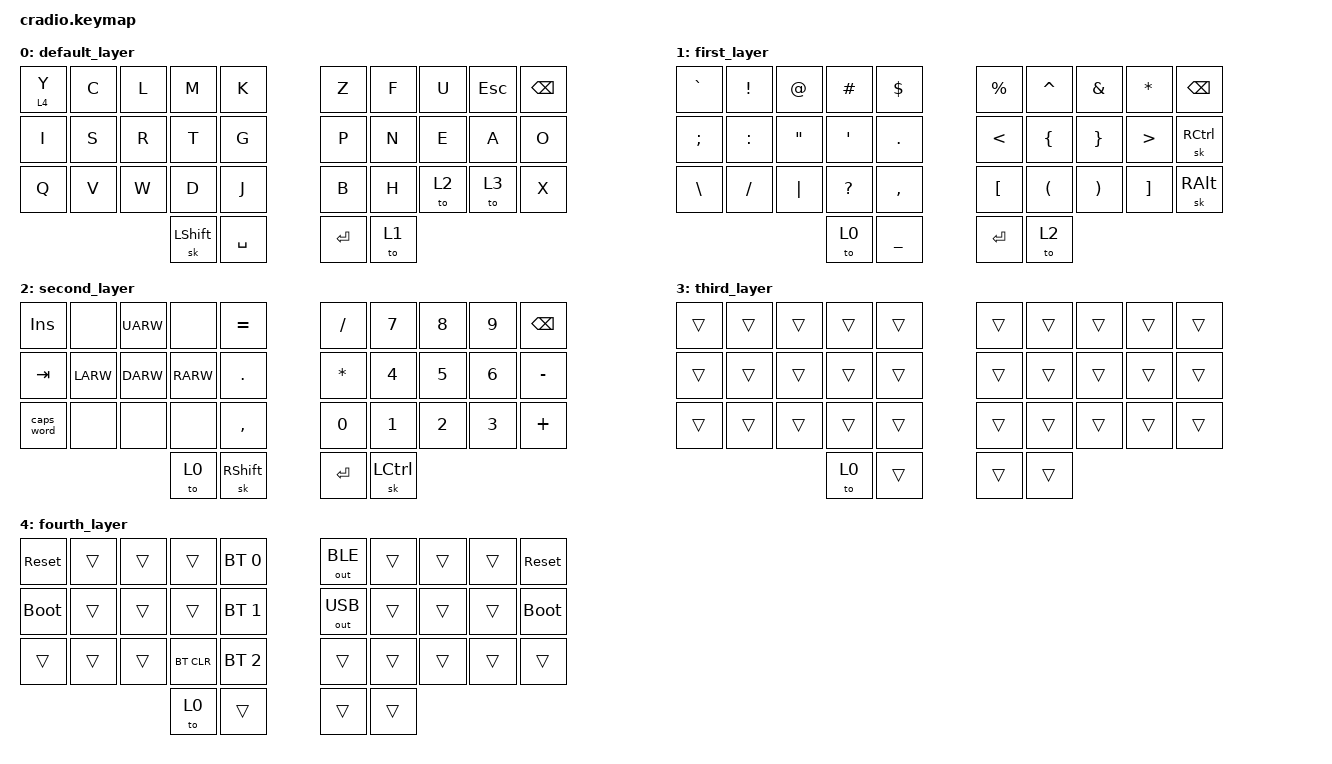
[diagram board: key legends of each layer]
// Copyright (c) 2022 The ZMK Contributors
// SPDX-License-Identifier: MIT

#include <behaviors.dtsi>
#include <dt-bindings/zmk/keys.h>
#include <dt-bindings/zmk/bt.h>
#include <dt-bindings/zmk/outputs.h>

&lt {
    tapping-term-ms = <2000>;
};

/ {
    behaviors {
        ht: hold_tap {
            compatible = "zmk,behavior-hold-tap";
            #binding-cells = <2>;
            flavor = "tap-preferred";
            tapping-term-ms = <220>;
            quick-tap-ms = <150>;
            require-prior-idle-ms = <100>;
            bindings = <&kp>, <&kp>;
        };
    };

    keymap {
        compatible = "zmk,keymap";
        default_layer {
            bindings = <
        //╭──────────┬──────────┬──────────┬──────────┬──────────╮   ╭──────────┬──────────┬──────────┬──────────┬──────────╮
        //│  Y       │  C       │  L       │  M       │  K       │   │  Z       │  F       │  U       │ ESCAPE   │ BKSP     │
            &lt 4 Y      &kp C      &kp L      &kp M      &kp K          &kp Z     &kp F      &kp U     &kp ESC    &kp BKSP 
        //├──────────┼──────────┼──────────┼──────────┼──────────┤   ├──────────┼──────────┼──────────┼──────────┼──────────┤
        //│  I       │  S       │  R       │  T       │  G       │   │  P       │  N       │  E       │  A       │  O       │
            &kp I      &kp S      &kp R      &kp T      &kp G          &kp P      &kp N      &kp E      &kp A       &kp O 
        //├──────────┼──────────┼──────────┼──────────┼──────────┤   ├──────────┼──────────┼──────────┼──────────┼──────────┤
        //│  Q       │  V       │  W       │  D       │  J       │   │  B       │  H       │ layer 2  │ layer 3  │  X       │
            &kp Q      &kp V      &kp W      &kp D      &kp J          &kp B      &kp H      &to 2      &to 3       &kp X
        //╰──────────┴──────────┴──────────┼──────────┼──────────┤   ├──────────┼──────────┼──────────┴──────────┴──────────╯
        //                                 │ LSHIFT   │ SPACEBAR │   │ ENTER    │ layer 1  │ 
                                            &sk LSHIFT  &kp SPC        &kp ENTER  &to 1
        //                                 ╰──────────┴──────────╯   ╰──────────┴──────────╯
            >;
        };

        first_layer {
            bindings = <
        //╭──────────┬──────────┬──────────┬──────────┬──────────╮   ╭──────────┬──────────┬──────────┬──────────┬──────────╮
        //│ `        │  !       │  @       │  #       │  $       │   │ %        │ ^        │ &        │ *        │  BKSP    │
            &kp GRAVE  &kp EXCL   &kp AT    &kp HASH    &kp DLLR       &kp PRCNT  &kp CARET  &kp AMPS   &kp ASTRK  &kp BKSP
        //├──────────┼──────────┼──────────┼──────────┼──────────┤   ├──────────┼──────────┼──────────┼──────────┼──────────┤
        //│ ;        │  :       │  "       │  '       │  .       │   │ <        │ {        │ }        │ >        │ RCTRL    │
            &kp SEMI   &kp COLON  &kp DQT    &kp SQT    &kp DOT        &kp LT     &kp LBRC   &kp RBRC   &kp GT     &sk RCTRL
        //├──────────┼──────────┼──────────┼──────────┼──────────┤   ├──────────┼──────────┼──────────┼──────────┼──────────┤
        //│ \        │  /       │  |       │  ?       │  ,       │   │  [       │  (       │  )       │  ]       │ RALT     │
            &kp BSLH   &kp FSLH   &kp PIPE   &kp QMARK  &kp COMMA       &kp LBKT   &kp LPAR   &kp RPAR   &kp RBKT  &sk RALT
        //╰──────────┴──────────┴──────────┼──────────┼──────────┤   ├──────────┼──────────┼──────────┴──────────┴──────────╯
        //                                 │ layer 0  │ _        │   │  ENTER   │ layer 2  │ 
                                             &to 0      &kp UNDER     &kp ENTER    &to 2
        //                                 ╰──────────┴──────────╯   ╰──────────┴──────────╯
            >;
        };

        second_layer {
            bindings = <
        //╭──────────┬──────────┬──────────┬──────────┬──────────╮      ╭──────────┬──────────┬──────────┬──────────┬──────────╮
        //│ INSERT   │          │  UP      │          │ =        │      │ /        │ 7        │ 8        │ 9        │  BKSP    │
            &kp INS    &none     &kp UARW    &none      &kp EQUAL        &kp FSLH    &kp N7     &kp N8     &kp N9     &kp BKSP
        //├──────────┼──────────┼──────────┼──────────┼──────────┤      ├──────────┼──────────┼──────────┼──────────┼──────────┤
        //│ TAB      │  LEFT    │  DOWN    │   RIGHT  │ .        │      │ *        │ 4        │ 5        │ 6        │ -        │
            &kp TAB    &kp LARW   &kp DARW   &kp RARW   &kp DOT           &kp ASTRK  &kp N4     &kp N5     &kp N6     &kp MINUS
        //├──────────┼──────────┼──────────┼──────────┼──────────┤      ├──────────┼──────────┼──────────┼──────────┼──────────┤
        //│ CAPS     │          │          │          │ ,        │      │  0       │  1       │  2       │ 3        │ +        │
           &caps_word  &none      &none      &none      &kp COMMA         &kp N0    &kp N1     &kp N2     &kp N3     &kp PLUS
        //╰──────────┴──────────┴──────────┼──────────┼──────────┤      ├──────────┼──────────┼──────────┴──────────┴──────────╯
        //                                 │ layer 0  │ RSHIFT   │      │ ENTER    │ LCTRL    │ 
                                             &to 0     &sk RSHIFT         &kp ENTER  &sk LCTRL
        //                                 ╰──────────┴──────────╯      ╰──────────┴──────────╯
            >;
        };

        third_layer {
            bindings = <
        //╭──────────┬──────────┬──────────┬──────────┬──────────╮   ╭──────────┬──────────┬──────────┬──────────┬──────────╮
        //│          │          │          │          │          │   │          │          │          │          │          │
            &trans     &trans     &trans     &trans     &trans         &trans     &trans     &trans     &trans     &trans
        //├──────────┼──────────┼──────────┼──────────┼──────────┤   ├──────────┼──────────┼──────────┼──────────┼──────────┤
        //│          │          │          │          │          │   │          │          │          │          │          │
            &trans     &trans     &trans     &trans    &trans          &trans     &trans     &trans     &trans     &trans
        //├──────────┼──────────┼──────────┼──────────┼──────────┤   ├──────────┼──────────┼──────────┼──────────┼──────────┤
        //│          │          │          │          │          │   │          │          │          │          │          │
            &trans     &trans     &trans     &trans     &trans         &trans     &trans     &trans     &trans     &trans
        //╰──────────┴──────────┴──────────┼──────────┼──────────┤   ├──────────┼──────────┼──────────┴──────────┴──────────╯
        //                                 │ layer 0  │          │   │          │          │ 
                                             &to 0     &trans          &trans     &trans
        //                                 ╰──────────┴──────────╯   ╰──────────┴──────────╯
            >;
        };

        fourth_layer {
            bindings = <
        //╭──────────┬──────────┬──────────┬──────────┬──────────╮   ╭──────────┬──────────┬──────────┬──────────┬──────────╮
        //│ RESET    │          │          │          │PROFILE 0 │   │ BLE OUT  │          │          │          │  RESET   │
           &sys_reset  &trans     &trans     &trans   &bt BT_SEL 0    &out OUT_BLE  &trans     &trans     &trans    &sys_reset
        //├──────────┼──────────┼──────────┼──────────┼──────────┤   ├──────────┼──────────┼──────────┼──────────┼──────────┤
        //│BOOTLOADER│          │          │          │PROFILE 1 │   │ USB OUT  │          │          │          │BOOTLOADER│
          &bootloader  &trans     &trans     &trans   &bt BT_SEL 1    &out OUT_USB  &trans     &trans     &trans    &bootloader
        //├──────────┼──────────┼──────────┼──────────┼──────────┤   ├──────────┼──────────┼──────────┼──────────┼──────────┤
        //│          │          │          │ CLEAR BT │PROFILE 2 │   │          │          │          │          │          │
            &trans     &trans     &trans    &bt BT_CLR &bt BT_SEL 2    &trans     &trans     &trans     &trans     &trans
        //╰──────────┴──────────┴──────────┼──────────┼──────────┤   ├──────────┼──────────┼──────────┴──────────┴──────────╯
                                             &to 0     &trans         &trans     &trans
        //                                 ╰──────────┴──────────╯   ╰──────────┴──────────╯
            >;
        };
    };
};
